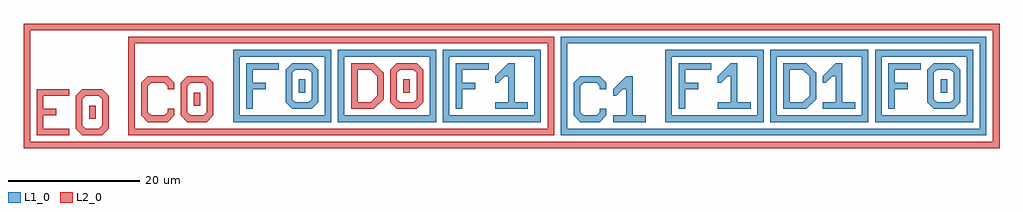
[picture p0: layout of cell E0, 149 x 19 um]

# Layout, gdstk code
import gdstk
lib = gdstk.Library(unit=1e-6, precision=5e-09)
def R(c, l, rs):  # rectangles x0, y0, x1, y1
    for r in rs: c.add(gdstk.rectangle(r[:2], r[2:], *l))
def P(c, l, *ps):  # polygons
    for p in ps: c.add(gdstk.Polygon(p, *l))
L1_0 = (1, 0)
L2_0 = (2, 0)

text_36 = lib.new_cell('TEXT$36')
R(text_36, L2_0, [(8,2.5,9,4.5)])
P(text_36, L2_0, [(0,0),(0,7),(5,7),(5,6),(1,6),(1,4),(3,4),(3,3),(1,3),(1,1),(5,1),(5,0)],
  [(7,0),(6,1),(6,6),(7,7),(10,7),(11,6),(7.5,6),(7,5.5),(7,1.5),(7.5,1),(9.5,1),(10,1.5),(10,5.5),(9.5,6),(11,6),(11,1),(10,0)])

text_11 = lib.new_cell('TEXT$11')
P(text_11, L1_0, [(1,0),(0,1),(0,6),(1,7),(4,7),(5,6),(5,5),(4,5),(4,5.5),(3.5,6),(1.5,6),(1,5.5),(1,1.5),(1.5,1),(3.5,1),(4,1.5),(4,2),(5,2),(5,1),(4,0)],
  [(6,0),(6,1),(8,1),(8,5),(7.5,5),(6.5,4),(6,4),(6,5),(8,7),(9,7),(9,1),(11,1),(11,0)])

text_12 = lib.new_cell('TEXT$12')
P(text_12, L1_0, [(0,0),(0,7),(5,7),(5,6),(1,6),(1,4),(3,4),(3,3),(1,3),(1,0)],
  [(6,0),(6,1),(8,1),(8,5),(7.5,5),(6.5,4),(6,4),(6,5),(8,7),(9,7),(9,1),(11,1),(11,0)])

f1_1 = lib.new_cell('F1$1')
f1_1.add(gdstk.FlexPath([(0.5,0.5),(0.5,10.5),(14.5,10.5),(14.5,0.5),(0.5,0.5)], 1, ends="extended", simple_path=True, layer=1, datatype=0))  # L1_0
f1_1.add(gdstk.Reference(text_12, (2,2)))

text_13 = lib.new_cell('TEXT$13')
P(text_13, L1_0, [(0,0),(0,7),(3.5,7),(4.5,6),(1,6),(1,1),(3,1),(4,2),(4,5),(3,6),(4.5,6),(5,5.5),(5,1.5),(3.5,0)],
  [(6,0),(6,1),(8,1),(8,5),(7.5,5),(6.5,4),(6,4),(6,5),(8,7),(9,7),(9,1),(11,1),(11,0)])

text_14 = lib.new_cell('TEXT$14')
P(text_14, L1_0, [(0,0),(0,7),(3.5,7),(4.5,6),(1,6),(1,1),(3,1),(4,2),(4,5),(3,6),(4.5,6),(5,5.5),(5,1.5),(3.5,0)],
  [(6,0),(6,1),(8,1),(8,5),(7.5,5),(6.5,4),(6,4),(6,5),(8,7),(9,7),(9,1),(11,1),(11,0)])

text_15 = lib.new_cell('TEXT$15')
P(text_15, L1_0, [(0,0),(0,7),(3.5,7),(4.5,6),(1,6),(1,1),(3,1),(4,2),(4,5),(3,6),(4.5,6),(5,5.5),(5,1.5),(3.5,0)],
  [(6,0),(6,1),(8,1),(8,5),(7.5,5),(6.5,4),(6,4),(6,5),(8,7),(9,7),(9,1),(11,1),(11,0)])

text_16 = lib.new_cell('TEXT$16')
P(text_16, L1_0, [(0,0),(0,7),(3.5,7),(4.5,6),(1,6),(1,1),(3,1),(4,2),(4,5),(3,6),(4.5,6),(5,5.5),(5,1.5),(3.5,0)],
  [(6,0),(6,1),(8,1),(8,5),(7.5,5),(6.5,4),(6,4),(6,5),(8,7),(9,7),(9,1),(11,1),(11,0)])

c_d1 = lib.new_cell('D1')
c_d1.add(gdstk.FlexPath([(0.5,0.5),(0.5,10.5),(14.5,10.5),(14.5,0.5),(0.5,0.5)], 1, ends="extended", simple_path=True, layer=1, datatype=0))  # L1_0
c_d1.add(gdstk.FlexPath([(0.5,0.5),(0.5,10.5),(14.5,10.5),(14.5,0.5),(0.5,0.5)], 1, ends="extended", simple_path=True, layer=1, datatype=0))  # L1_0
c_d1.add(gdstk.FlexPath([(0.5,0.5),(0.5,10.5),(14.5,10.5),(14.5,0.5),(0.5,0.5)], 1, ends="extended", simple_path=True, layer=1, datatype=0))  # L1_0
c_d1.add(gdstk.FlexPath([(0.5,0.5),(0.5,10.5),(14.5,10.5),(14.5,0.5),(0.5,0.5)], 1, ends="extended", simple_path=True, layer=1, datatype=0))  # L1_0
c_d1.add(gdstk.FlexPath([(0.5,0.5),(0.5,10.5),(14.5,10.5),(14.5,0.5),(0.5,0.5)], 1, ends="extended", simple_path=True, layer=1, datatype=0))  # L1_0
c_d1.add(gdstk.FlexPath([(0.5,0.5),(0.5,10.5),(14.5,10.5),(14.5,0.5),(0.5,0.5)], 1, ends="extended", simple_path=True, layer=1, datatype=0))  # L1_0
c_d1.add(gdstk.FlexPath([(0.5,0.5),(0.5,10.5),(14.5,10.5),(14.5,0.5),(0.5,0.5)], 1, ends="extended", simple_path=True, layer=1, datatype=0))  # L1_0
c_d1.add(gdstk.FlexPath([(0.5,0.5),(0.5,10.5),(14.5,10.5),(14.5,0.5),(0.5,0.5)], 1, ends="extended", simple_path=True, layer=1, datatype=0))  # L1_0
c_d1.add(gdstk.Reference(text_13, (2,2)))
c_d1.add(gdstk.Reference(text_14, (2,2)))
c_d1.add(gdstk.Reference(text_15, (2,2)))
c_d1.add(gdstk.Reference(text_16, (2,2)))

text_17 = lib.new_cell('TEXT$17')
R(text_17, L1_0, [(8,2.5,9,4.5)])
P(text_17, L1_0, [(0,0),(0,7),(5,7),(5,6),(1,6),(1,4),(3,4),(3,3),(1,3),(1,0)],
  [(7,0),(6,1),(6,6),(7,7),(10,7),(11,6),(7.5,6),(7,5.5),(7,1.5),(7.5,1),(9.5,1),(10,1.5),(10,5.5),(9.5,6),(11,6),(11,1),(10,0)])

f0_1 = lib.new_cell('F0$1')
f0_1.add(gdstk.FlexPath([(0.5,0.5),(0.5,10.5),(14.5,10.5),(14.5,0.5),(0.5,0.5)], 1, ends="extended", simple_path=True, layer=1, datatype=0))  # L1_0
f0_1.add(gdstk.Reference(text_17, (2,2)))

c_c1 = lib.new_cell('C1')
c_c1.add(gdstk.FlexPath([(0.5,0.5),(0.5,14.5),(64.5,14.5),(64.5,0.5),(0.5,0.5)], 1, ends="extended", simple_path=True, layer=1, datatype=0))  # L1_0
c_c1.add(gdstk.Reference(text_11, (2,2)))
c_c1.add(gdstk.Reference(f1_1, (16,2)))
c_c1.add(gdstk.Reference(c_d1, (32,2)))
c_c1.add(gdstk.Reference(f0_1, (48,2)))

text_7 = lib.new_cell('TEXT$7')
R(text_7, L2_0, [(8,2.5,9,4.5)])
P(text_7, L2_0, [(1,0),(0,1),(0,6),(1,7),(4,7),(5,6),(5,5),(4,5),(4,5.5),(3.5,6),(1.5,6),(1,5.5),(1,1.5),(1.5,1),(3.5,1),(4,1.5),(4,2),(5,2),(5,1),(4,0)],
  [(7,0),(6,1),(6,6),(7,7),(10,7),(11,6),(7.5,6),(7,5.5),(7,1.5),(7.5,1),(9.5,1),(10,1.5),(10,5.5),(9.5,6),(11,6),(11,1),(10,0)])

text_8 = lib.new_cell('TEXT$8')
R(text_8, L1_0, [(8,2.5,9,4.5)])
P(text_8, L1_0, [(0,0),(0,7),(5,7),(5,6),(1,6),(1,4),(3,4),(3,3),(1,3),(1,0)],
  [(7,0),(6,1),(6,6),(7,7),(10,7),(11,6),(7.5,6),(7,5.5),(7,1.5),(7.5,1),(9.5,1),(10,1.5),(10,5.5),(9.5,6),(11,6),(11,1),(10,0)])

c_f0 = lib.new_cell('F0')
c_f0.add(gdstk.FlexPath([(0.5,0.5),(0.5,10.5),(14.5,10.5),(14.5,0.5),(0.5,0.5)], 1, ends="extended", simple_path=True, layer=1, datatype=0))  # L1_0
c_f0.add(gdstk.Reference(text_8, (2,2)))

text_9 = lib.new_cell('TEXT$9')
R(text_9, L2_0, [(8,2.5,9,4.5)])
P(text_9, L2_0, [(0,0),(0,7),(3.5,7),(4.5,6),(1,6),(1,1),(3,1),(4,2),(4,5),(3,6),(4.5,6),(5,5.5),(5,1.5),(3.5,0)],
  [(7,0),(6,1),(6,6),(7,7),(10,7),(11,6),(7.5,6),(7,5.5),(7,1.5),(7.5,1),(9.5,1),(10,1.5),(10,5.5),(9.5,6),(11,6),(11,1),(10,0)])

d0_2 = lib.new_cell('D0$2')
d0_2.add(gdstk.FlexPath([(0.5,0.5),(0.5,10.5),(14.5,10.5),(14.5,0.5),(0.5,0.5)], 1, ends="extended", simple_path=True, layer=1, datatype=0))  # L1_0
d0_2.add(gdstk.FlexPath([(0.5,0.5),(0.5,10.5),(14.5,10.5),(14.5,0.5),(0.5,0.5)], 1, ends="extended", simple_path=True, layer=1, datatype=0))  # L1_0
d0_2.add(gdstk.FlexPath([(0.5,0.5),(0.5,10.5),(14.5,10.5),(14.5,0.5),(0.5,0.5)], 1, ends="extended", simple_path=True, layer=1, datatype=0))  # L1_0
d0_2.add(gdstk.FlexPath([(0.5,0.5),(0.5,10.5),(14.5,10.5),(14.5,0.5),(0.5,0.5)], 1, ends="extended", simple_path=True, layer=1, datatype=0))  # L1_0
d0_2.add(gdstk.FlexPath([(0.5,0.5),(0.5,10.5),(14.5,10.5),(14.5,0.5),(0.5,0.5)], 1, ends="extended", simple_path=True, layer=1, datatype=0))  # L1_0
d0_2.add(gdstk.FlexPath([(0.5,0.5),(0.5,10.5),(14.5,10.5),(14.5,0.5),(0.5,0.5)], 1, ends="extended", simple_path=True, layer=1, datatype=0))  # L1_0
d0_2.add(gdstk.FlexPath([(0.5,0.5),(0.5,10.5),(14.5,10.5),(14.5,0.5),(0.5,0.5)], 1, ends="extended", simple_path=True, layer=1, datatype=0))  # L1_0
d0_2.add(gdstk.FlexPath([(0.5,0.5),(0.5,10.5),(14.5,10.5),(14.5,0.5),(0.5,0.5)], 1, ends="extended", simple_path=True, layer=1, datatype=0))  # L1_0
d0_2.add(gdstk.FlexPath([(0.5,0.5),(0.5,10.5),(14.5,10.5),(14.5,0.5),(0.5,0.5)], 1, ends="extended", simple_path=True, layer=1, datatype=0))  # L1_0
d0_2.add(gdstk.FlexPath([(0.5,0.5),(0.5,10.5),(14.5,10.5),(14.5,0.5),(0.5,0.5)], 1, ends="extended", simple_path=True, layer=1, datatype=0))  # L1_0
d0_2.add(gdstk.FlexPath([(0.5,0.5),(0.5,10.5),(14.5,10.5),(14.5,0.5),(0.5,0.5)], 1, ends="extended", simple_path=True, layer=1, datatype=0))  # L1_0
d0_2.add(gdstk.FlexPath([(0.5,0.5),(0.5,10.5),(14.5,10.5),(14.5,0.5),(0.5,0.5)], 1, ends="extended", simple_path=True, layer=1, datatype=0))  # L1_0
d0_2.add(gdstk.FlexPath([(0.5,0.5),(0.5,10.5),(14.5,10.5),(14.5,0.5),(0.5,0.5)], 1, ends="extended", simple_path=True, layer=1, datatype=0))  # L1_0
d0_2.add(gdstk.FlexPath([(0.5,0.5),(0.5,10.5),(14.5,10.5),(14.5,0.5),(0.5,0.5)], 1, ends="extended", simple_path=True, layer=1, datatype=0))  # L1_0
d0_2.add(gdstk.FlexPath([(0.5,0.5),(0.5,10.5),(14.5,10.5),(14.5,0.5),(0.5,0.5)], 1, ends="extended", simple_path=True, layer=1, datatype=0))  # L1_0
d0_2.add(gdstk.FlexPath([(0.5,0.5),(0.5,10.5),(14.5,10.5),(14.5,0.5),(0.5,0.5)], 1, ends="extended", simple_path=True, layer=1, datatype=0))  # L1_0
d0_2.add(gdstk.Reference(text_9, (2,2)))

text_10 = lib.new_cell('TEXT$10')
P(text_10, L1_0, [(0,0),(0,7),(5,7),(5,6),(1,6),(1,4),(3,4),(3,3),(1,3),(1,0)],
  [(6,0),(6,1),(8,1),(8,5),(7.5,5),(6.5,4),(6,4),(6,5),(8,7),(9,7),(9,1),(11,1),(11,0)])

c_f1 = lib.new_cell('F1')
c_f1.add(gdstk.FlexPath([(0.5,0.5),(0.5,10.5),(14.5,10.5),(14.5,0.5),(0.5,0.5)], 1, ends="extended", simple_path=True, layer=1, datatype=0))  # L1_0
c_f1.add(gdstk.Reference(text_10, (2,2)))

c0_1 = lib.new_cell('C0$1')
c0_1.add(gdstk.FlexPath([(0.5,0.5),(0.5,14.5),(64.5,14.5),(64.5,0.5),(0.5,0.5)], 1, ends="extended", simple_path=True, layer=2, datatype=0))  # L2_0
c0_1.add(gdstk.Reference(text_7, (2,2)))
c0_1.add(gdstk.Reference(c_f0, (16,2)))
c0_1.add(gdstk.Reference(d0_2, (32,2)))
c0_1.add(gdstk.Reference(c_f1, (48,2)))

c_e0 = lib.new_cell('E0')
c_e0.add(gdstk.FlexPath([(0.5,0.5),(0.5,18.5),(148.5,18.5),(148.5,0.5),(0.5,0.5)], 1, ends="extended", simple_path=True, layer=2, datatype=0))  # L2_0
c_e0.add(gdstk.Reference(text_36, (2,2)))
c_e0.add(gdstk.Reference(c_c1, (82,2)))
c_e0.add(gdstk.Reference(c0_1, (16,2)))

lib.write_gds('E0.gds')
